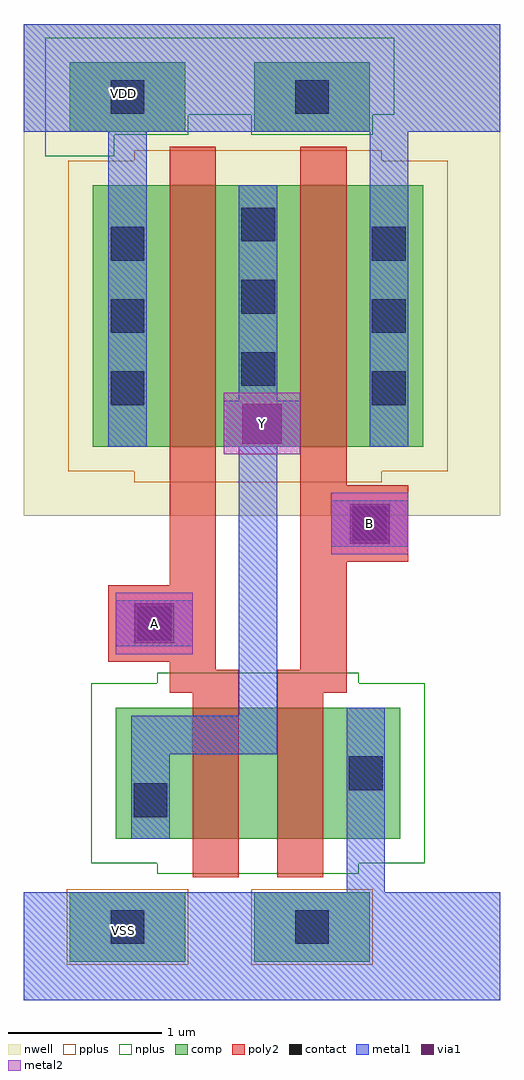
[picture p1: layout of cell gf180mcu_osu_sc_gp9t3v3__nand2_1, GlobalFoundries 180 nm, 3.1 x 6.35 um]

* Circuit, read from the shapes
.subckt gf180mcu_osu_sc_gp9t3v3__nand2_1 A B VDD VSS Y
XM1 n1 A Y VSS nfet_03v3 w=0.85u l=0.3u
XM2 VSS B n1 VSS nfet_03v3 w=0.85u l=0.3u
XM3 Y A VDD VDD pfet_03v3 w=1.7u l=0.3u
XM4 VDD B Y VDD pfet_03v3 w=1.7u l=0.3u
.ends

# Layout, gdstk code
import gdstk
lib = gdstk.Library(unit=1e-6, precision=1e-09)
def R(c, l, rs):  # rectangles x0, y0, x1, y1
    for r in rs: c.add(gdstk.rectangle(r[:2], r[2:], *l))
def A(c, l, x, y, w, h, nx, ny, dx, dy):  # array of equal rectangles
    R(c, l, [(x+i*dx, y+j*dy, x+i*dx+w, y+j*dy+h) for i in range(nx) for j in range(ny)])
nwell = (21, 0)
comp = (22, 0)
poly2 = (30, 0)
pplus = (31, 0)
nplus = (32, 0)
contact = (33, 0)
metal1 = (34, 0)
via1 = (35, 0)
metal2 = (36, 0)

gf180mcu_osu_sc_gp9t3v3_ = lib.new_cell('gf180mcu_osu_sc_gp9t3v3__nand2_1')
R(gf180mcu_osu_sc_gp9t3v3_, nwell, [(0,3.15,3.1,6.35)])
R(gf180mcu_osu_sc_gp9t3v3_, comp, [(0.3,0.25,1.05,0.7), (1.5,0.25,2.25,0.7), (0.6,1.05,2.45,1.9), (0.45,3.6,2.6,5.3), (0.3,5.65,1.05,6.1), (1.5,5.65,2.25,6.1)])
R(gf180mcu_osu_sc_gp9t3v3_, poly2, [(1.1,0.8,1.4,2), (1.65,0.8,1.95,2), (0.95,2,1.4,2.15), (1.65,2,2.1,2.15), (0.95,2.15,1.25,2.2), (1.8,2.15,2.1,2.85), (0.55,2.2,1.25,2.7), (0.95,2.7,1.25,5.55), (1.8,2.85,2.5,3.35), (1.8,3.35,2.1,5.55)])
R(gf180mcu_osu_sc_gp9t3v3_, pplus, [(0.28,0.23,1.07,0.72), (1.48,0.23,2.27,0.72), (0.72,3.37,2.33,3.44), (0.29,3.44,2.76,5.46), (0.72,5.46,2.33,5.53)])
R(gf180mcu_osu_sc_gp9t3v3_, nplus, [(0.87,0.82,2.18,0.89), (0.44,0.89,2.61,2.06), (0.87,2.06,2.18,2.13), (0.14,5.49,0.59,5.63), (0.14,5.63,1.07,5.76), (1.48,5.63,2.27,5.76), (0.14,5.76,2.41,6.26)])
A(gf180mcu_osu_sc_gp9t3v3_, contact, 0.565, 3.87, 0.22, 0.22, 1, 3, 0, 0.47)
A(gf180mcu_osu_sc_gp9t3v3_, contact, 2.265, 3.87, 0.22, 0.22, 1, 3, 0, 0.47)
A(gf180mcu_osu_sc_gp9t3v3_, contact, 1.415, 3.995, 0.22, 0.22, 1, 3, 0, 0.47)
R(gf180mcu_osu_sc_gp9t3v3_, contact, [(0.565,0.365,0.785,0.585), (1.765,0.365,1.985,0.585), (0.715,1.19,0.935,1.41), (2.115,1.365,2.335,1.585), (0.74,2.34,0.96,2.56), (2.14,2.99,2.36,3.21), (0.565,5.765,0.785,5.985), (1.765,5.765,1.985,5.985)])
R(gf180mcu_osu_sc_gp9t3v3_, metal1, [(0,0,3.1,0.7), (2.1,0.7,2.35,1.9), (0.7,1.05,0.95,1.6), (0.7,1.6,1.65,1.85), (1.4,1.85,1.65,3.6), (0.6,2.3,1.1,2.6), (2,2.95,2.5,3.25), (0.55,3.6,0.8,5.65), (1.3,3.6,1.8,3.9), (2.25,3.6,2.5,5.65), (1.4,3.9,1.65,5.3), (0,5.65,3.1,6.35)])
R(gf180mcu_osu_sc_gp9t3v3_, via1, [(0.72,2.32,0.98,2.58), (2.12,2.97,2.38,3.23), (1.42,3.62,1.68,3.88)])
R(gf180mcu_osu_sc_gp9t3v3_, metal2, [(0.6,2.25,1.1,2.65), (2,2.9,2.5,3.3), (1.3,3.55,1.8,3.95)])
gf180mcu_osu_sc_gp9t3v3_.add(gdstk.Label('VDD', (0.65,5.9), layer=34, texttype=10))
gf180mcu_osu_sc_gp9t3v3_.add(gdstk.Label('VSS', (0.65,0.45), layer=34, texttype=10))
gf180mcu_osu_sc_gp9t3v3_.add(gdstk.Label('A', (0.85,2.45), layer=36, texttype=10))
gf180mcu_osu_sc_gp9t3v3_.add(gdstk.Label('B', (2.25,3.1), layer=36, texttype=10))
gf180mcu_osu_sc_gp9t3v3_.add(gdstk.Label('Y', (1.55,3.75), layer=36, texttype=10))

lib.write_gds('gf180mcu_osu_sc_gp9t3v3__nand2_1.gds')
